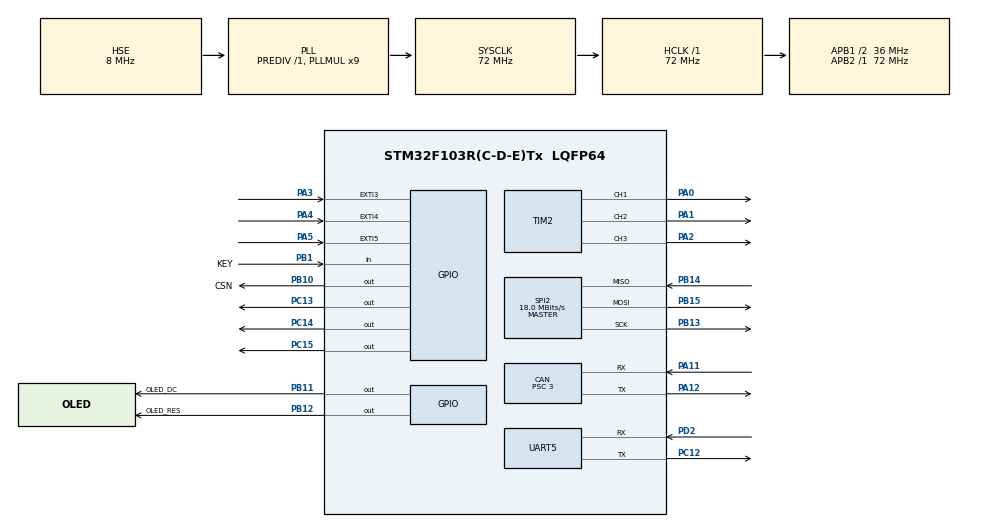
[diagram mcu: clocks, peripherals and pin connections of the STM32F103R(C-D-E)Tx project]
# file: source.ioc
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CAN.BS1=CAN_BS1_9TQ
CAN.BS2=CAN_BS2_2TQ
CAN.CalculateTimeBit=1000
CAN.CalculateTimeQuantum=83.33333333333334
CAN.Prescaler=3
Mcu.Family=STM32F1
Mcu.Name=STM32F103R(C-D-E)Tx
Mcu.Package=LQFP64
NVIC.EXTI3_IRQn=true\:1\:0\:true\:false\:true
NVIC.EXTI4_IRQn=true\:1\:0\:true\:false\:true
NVIC.EXTI9_5_IRQn=true\:1\:0\:true\:false\:true
NVIC.PriorityGroup=NVIC_PRIORITYGROUP_4
NVIC.UART5_IRQn=true\:3\:0\:true\:false\:true
NVIC.USB_LP_CAN1_RX0_IRQn=true\:0\:0\:false\:false\:true
PA0-WKUP.Signal=S_TIM2_CH1_ETR
PA1.Signal=S_TIM2_CH2
PA11.Mode=Master
PA11.Signal=CAN_RX
PA12.Mode=Master
PA12.Signal=CAN_TX
PA2.Signal=S_TIM2_CH3
PA3.Signal=GPXTI3
PA4.Signal=GPXTI4
PA5.Signal=GPXTI5
PB1.GPIO_Label=KEY
PB1.GPIO_PuPd=GPIO_PULLUP
PB1.Signal=GPIO_Input
PB10.GPIO_Label=CSN
PB10.Signal=GPIO_Output
PB11.GPIO_Label=OLED_DC
PB11.Signal=GPIO_Output
PB12.GPIO_Label=OLED_RES
PB12.Signal=GPIO_Output
PB13.Mode=Full_Duplex_Master
PB13.Signal=SPI2_SCK
PB14.Mode=Full_Duplex_Master
PB14.Signal=SPI2_MISO
PB15.Mode=Full_Duplex_Master
PB15.Signal=SPI2_MOSI
PC12.Mode=Asynchronous
PC12.Signal=UART5_TX
PC13-TAMPER-RTC.Signal=GPIO_Output
PC14-OSC32_IN.Signal=GPIO_Output
PC15-OSC32_OUT.Signal=GPIO_Output
PD0-OSC_IN.Mode=HSE-External-Oscillator
PD0-OSC_IN.Signal=RCC_OSC_IN
PD1-OSC_OUT.Mode=HSE-External-Oscillator
PD1-OSC_OUT.Signal=RCC_OSC_OUT
PD2.Mode=Asynchronous
PD2.Signal=UART5_RX
ProjectManager.HeapSize=0x200
ProjectManager.StackSize=0x400
ProjectManager.TargetToolchain=EWARM
RCC.AHBFreq_Value=72000000
RCC.APB1CLKDivider=RCC_HCLK_DIV2
RCC.APB1Freq_Value=36000000
RCC.APB1TimFreq_Value=72000000
RCC.APB2Freq_Value=72000000
RCC.APB2TimFreq_Value=72000000
RCC.HCLKFreq_Value=72000000
RCC.PLLMUL=RCC_PLL_MUL9
RCC.PLLSourceVirtual=RCC_PLLSOURCE_HSE
RCC.SYSCLKFreq_VALUE=72000000
RCC.SYSCLKSource=RCC_SYSCLKSOURCE_PLLCLK
RCC.USBFreq_Value=72000000
SH.S_TIM2_CH1_ETR.0=TIM2_CH1,PWM Generation1 CH1
SH.S_TIM2_CH2.0=TIM2_CH2,PWM Generation2 CH2
SH.S_TIM2_CH3.0=TIM2_CH3,PWM Generation3 CH3
SPI2.CalculateBaudRate=18.0 MBits/s
SPI2.Direction=SPI_DIRECTION_2LINES
SPI2.Mode=SPI_MODE_MASTER
SPI2.VirtualType=VM_MASTER
TIM2.Channel-PWM\ Generation1\ CH1=TIM_CHANNEL_1
TIM2.Channel-PWM\ Generation2\ CH2=TIM_CHANNEL_2
TIM2.Channel-PWM\ Generation3\ CH3=TIM_CHANNEL_3
UART5.VirtualMode=Asynchronous
VP_SYS_VS_ND.Mode=No_Debug
VP_TIM6_VS_ClockSourceINT.Mode=Enable_Timer
VP_TIM7_VS_ClockSourceINT.Mode=Enable_Timer
board=source

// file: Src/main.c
/**
  ******************************************************************************
  * File Name          : main.c
  * Description        : Main program body
  ******************************************************************************
  ** This notice applies to any and all portions of this file
  * that are not between comment pairs USER CODE BEGIN and
  * USER CODE END. Other portions of this file, whether
  * inserted by the user or by software development tools
  * are owned by their respective copyright owners.
  *
  * COPYRIGHT(c) 2018 STMicroelectronics
  *
  * Redistribution and use in source and binary forms, with or without modification,
  * are permitted provided that the following conditions are met:
  *   1. Redistributions of source code must retain the above copyright notice,
  *      this list of conditions and the following disclaimer.
  *   2. Redistributions in binary form must reproduce the above copyright notice,
  *      this list of conditions and the following disclaimer in the documentation
  *      and/or other materials provided with the distribution.
  *   3. Neither the name of STMicroelectronics nor the names of its contributors
  *      may be used to endorse or promote products derived from this software
  *      without specific prior written permission.
  *
  * THIS SOFTWARE IS PROVIDED BY THE COPYRIGHT HOLDERS AND CONTRIBUTORS "AS IS"
  * AND ANY EXPRESS OR IMPLIED WARRANTIES, INCLUDING, BUT NOT LIMITED TO, THE
  * IMPLIED WARRANTIES OF MERCHANTABILITY AND FITNESS FOR A PARTICULAR PURPOSE ARE
  * DISCLAIMED. IN NO EVENT SHALL THE COPYRIGHT HOLDER OR CONTRIBUTORS BE LIABLE
  * FOR ANY DIRECT, INDIRECT, INCIDENTAL, SPECIAL, EXEMPLARY, OR CONSEQUENTIAL
  * DAMAGES (INCLUDING, BUT NOT LIMITED TO, PROCUREMENT OF SUBSTITUTE GOODS OR
  * SERVICES; LOSS OF USE, DATA, OR PROFITS; OR BUSINESS INTERRUPTION) HOWEVER
  * CAUSED AND ON ANY THEORY OF LIABILITY, WHETHER IN CONTRACT, STRICT LIABILITY,
  * OR TORT (INCLUDING NEGLIGENCE OR OTHERWISE) ARISING IN ANY WAY OUT OF THE USE
  * OF THIS SOFTWARE, EVEN IF ADVISED OF THE POSSIBILITY OF SUCH DAMAGE.
  *
  ******************************************************************************
  */
#include "main.h"
#include "stm32f1xx_hal.h"
#include "can.h"
#include "spi.h"
#include "tim.h"
#include "usart.h"
#include "gpio.h"

/* USER CODE BEGIN Includes */
#include "command.h"
#include "board.h"

/* USER CODE END Includes */

/* USER CODE BEGIN PV */
/* Private variables ---------------------------------------------------------*/

/* USER CODE END PV */

void SystemClock_Config(void);

/* USER CODE BEGIN PFP */
/* Private function prototypes -----------------------------------------------*/

/* USER CODE END PFP */

int main(void)
{

  /* MCU Configuration----------------------------------------------------------*/

  /* Reset of all peripherals, Initializes the Flash interface and the Systick. */
  HAL_Init();

  /* Configure the system clock */
  SystemClock_Config();

  /* Initialize all configured peripherals */
  MX_GPIO_Init();
  MX_CAN_Init();
  MX_SPI2_Init();
  MX_TIM2_Init();
  MX_UART5_Init();
  MX_TIM6_Init();
  MX_TIM7_Init();

  /* USER CODE BEGIN 2 */
  command_init();
  Phase_Table_Init();
  uprintf("hello,world!\r\n");
  /* USER CODE END 2 */

  /* Infinite loop */
  while (1)
  {
    if(buffer_rx_OK){
      analize(buffer_rx);
      buffer_rx_OK=0;
    }

  }

}

/** System Clock Configuration
*/
void SystemClock_Config(void)
{

  RCC_OscInitTypeDef RCC_OscInitStruct;
  RCC_ClkInitTypeDef RCC_ClkInitStruct;

    /**Initializes the CPU, AHB and APB busses clocks
    */
  RCC_OscInitStruct.OscillatorType = RCC_OSCILLATORTYPE_HSE;
  RCC_OscInitStruct.HSEState = RCC_HSE_ON;
  RCC_OscInitStruct.HSEPredivValue = RCC_HSE_PREDIV_DIV1;
  RCC_OscInitStruct.HSIState = RCC_HSI_ON;
  RCC_OscInitStruct.PLL.PLLState = RCC_PLL_ON;
  RCC_OscInitStruct.PLL.PLLSource = RCC_PLLSOURCE_HSE;
  RCC_OscInitStruct.PLL.PLLMUL = RCC_PLL_MUL9;
  if (HAL_RCC_OscConfig(&RCC_OscInitStruct) != HAL_OK)
  {
    _Error_Handler(__FILE__, __LINE__);
  }

    /**Initializes the CPU, AHB and APB busses clocks
    */
  RCC_ClkInitStruct.ClockType = RCC_CLOCKTYPE_HCLK|RCC_CLOCKTYPE_SYSCLK
                              |RCC_CLOCKTYPE_PCLK1|RCC_CLOCKTYPE_PCLK2;
  RCC_ClkInitStruct.SYSCLKSource = RCC_SYSCLKSOURCE_PLLCLK;
  RCC_ClkInitStruct.AHBCLKDivider = RCC_SYSCLK_DIV1;
  RCC_ClkInitStruct.APB1CLKDivider = RCC_HCLK_DIV2;
  RCC_ClkInitStruct.APB2CLKDivider = RCC_HCLK_DIV1;

  if (HAL_RCC_ClockConfig(&RCC_ClkInitStruct, FLASH_LATENCY_2) != HAL_OK)
  {
    _Error_Handler(__FILE__, __LINE__);
  }

    /**Configure the Systick interrupt time
    */
  HAL_SYSTICK_Config(HAL_RCC_GetHCLKFreq()/1000);

    /**Configure the Systick
    */
  HAL_SYSTICK_CLKSourceConfig(SYSTICK_CLKSOURCE_HCLK);

  /* SysTick_IRQn interrupt configuration */
  HAL_NVIC_SetPriority(SysTick_IRQn, 0, 0);
}

/* USER CODE BEGIN 4 */
void HAL_SYSTICK_Callback(void){
  if(Board_Mode!=NORMAL)
    return ;
  Phase_Open_Cnt++;
  if(Phase_Open_Cnt>OPEN_TIME_MAX){
    Close_Phases();
    Phase_Open_Cnt=0;
    uprintf("close phases because too long!\r\n");
    uprintf("now position is %d\r\n",Hall_Position);
    Phase_Change(*Phase_Table_Using[(Hall_Position+1)%6],Motor_Duty);   //��ֹ��ס�����ҽ���������
  }
}
/* USER CODE END 4 */

void _Error_Handler(char * file, int line)
{
  while(1)
  {
  }
}

/************************ (C) COPYRIGHT STMicroelectronics *****END OF FILE****/
